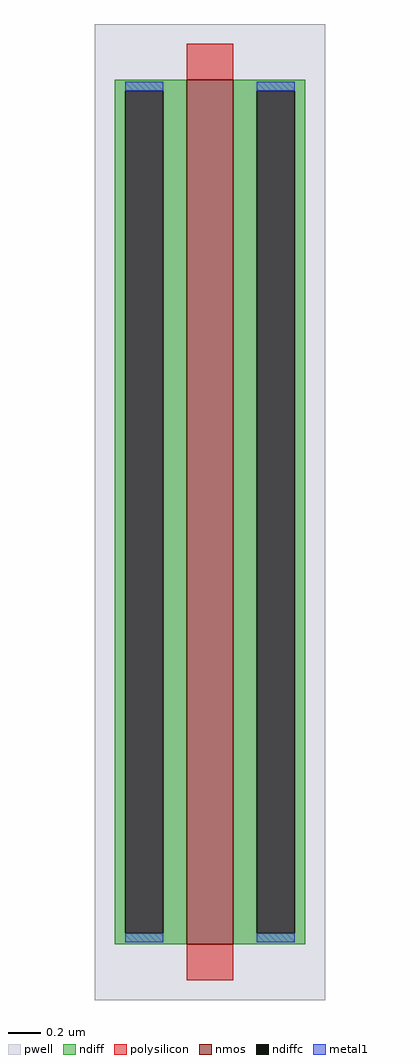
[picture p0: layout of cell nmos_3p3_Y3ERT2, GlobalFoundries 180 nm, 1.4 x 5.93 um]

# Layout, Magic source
magic
tech gf180mcuC
magscale 1 10
<< pwell >>
rect -140 -593 140 593
<< nmos >>
rect -28 -525 28 525
<< ndiff >>
rect -116 512 -28 525
rect -116 -512 -103 512
rect -57 -512 -28 512
rect -116 -525 -28 -512
rect 28 512 116 525
rect 28 -512 57 512
rect 103 -512 116 512
rect 28 -525 116 -512
<< ndiffc >>
rect -103 -512 -57 512
rect 57 -512 103 512
<< polysilicon >>
rect -28 525 28 569
rect -28 -569 28 -525
<< metal1 >>
rect -103 512 -57 523
rect -103 -523 -57 -512
rect 57 512 103 523
rect 57 -523 103 -512
<< properties >>
string gencell nmos_3p3
string library gf180mcu
string parameters w 5.25 l 0.280 m 1 nf 1 diffcov 100 polycov 100 guard 0 glc 0 grc 0 gtc 0 gbc 0 tbcov 100 rlcov 100 topc 0 botc 0 poverlap 0 doverlap 1 lmin 0.28 wmin 0.22 full_metal 0 compatible {nmos_3p3 nmos_6p0 nmos_6p0_nat}
<< end >>
